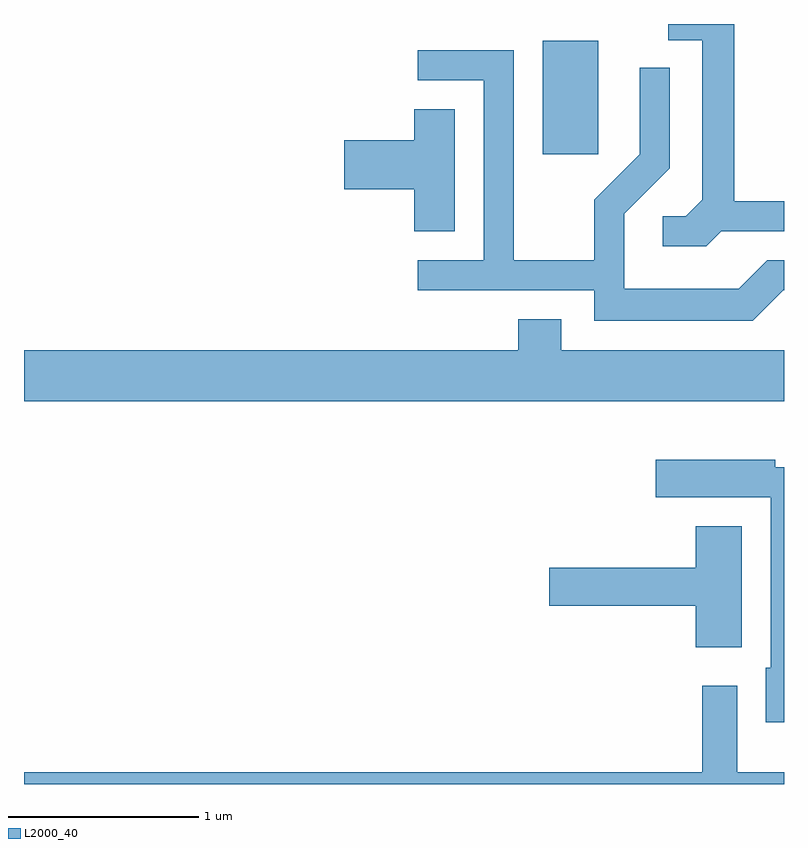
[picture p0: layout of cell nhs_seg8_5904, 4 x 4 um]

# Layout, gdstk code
import gdstk
lib = gdstk.Library(unit=1e-6, precision=1e-09)
def R(c, l, rs):  # rectangles x0, y0, x1, y1
    for r in rs: c.add(gdstk.rectangle(r[:2], r[2:], *l))
def P(c, l, *ps):  # polygons
    for p in ps: c.add(gdstk.Polygon(p, *l))
L2000_40 = (2000, 40)

nhs_seg8_5904 = lib.new_cell('nhs_seg8_5904')
R(nhs_seg8_5904, L2000_40, [(364.341,1897.656,364.634,1898.254)])
P(nhs_seg8_5904, L2000_40, [(365.282,1897.251),(365.611,1897.251),(365.611,1897.409),(365.349,1897.409),(365.349,1898.342),(365.003,1898.342),(365.003,1898.256),(365.181,1898.256),(365.181,1897.417),(365.094,1897.329),(364.973,1897.329),(364.973,1897.171),(365.202,1897.171)],
  [(365.607,1896.941),(365.611,1896.941),(365.611,1897.099),(365.524,1897.099),(365.374,1896.949),(364.769,1896.949),(364.769,1897.344),(365.009,1897.584),(365.009,1898.113),(364.851,1898.113),(364.851,1897.657),(364.611,1897.417),(364.611,1897.099),(364.189,1897.099),(364.189,1898.204),(363.683,1898.204),(363.683,1898.046),(364.031,1898.046),(364.031,1897.099),(363.683,1897.099),(363.683,1896.941),(364.611,1896.941),(364.611,1896.781),(365.447,1896.781)],
  [(363.879,1897.894),(363.666,1897.894),(363.666,1897.729),(363.296,1897.729),(363.296,1897.471),(363.666,1897.471),(363.666,1897.251),(363.879,1897.251)],
  [(365.611,1896.624),(364.439,1896.624),(364.439,1896.789),(364.211,1896.789),(364.211,1896.624),(361.611,1896.624),(361.611,1896.356),(365.611,1896.356)],
  [(365.611,1896.009),(365.564,1896.009),(365.564,1896.049),(364.936,1896.049),(364.936,1895.851),(365.541,1895.851),(365.541,1894.954),(365.516,1894.954),(365.516,1894.666),(365.611,1894.666)],
  [(365.389,1895.699),(365.146,1895.699),(365.146,1895.479),(364.376,1895.479),(364.376,1895.281),(365.146,1895.281),(365.146,1895.061),(365.389,1895.061)],
  [(365.611,1894.404),(365.364,1894.404),(365.364,1894.859),(365.181,1894.859),(365.181,1894.404),(361.611,1894.404),(361.611,1894.342),(365.611,1894.342)])

lib.write_gds('nhs_seg8_5904.gds')
